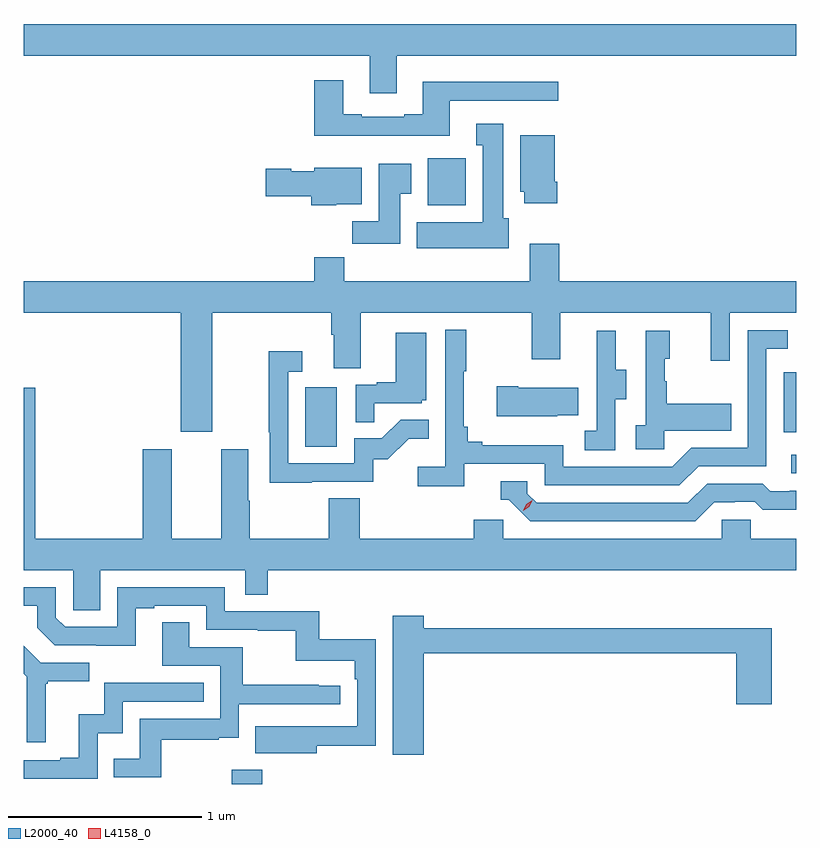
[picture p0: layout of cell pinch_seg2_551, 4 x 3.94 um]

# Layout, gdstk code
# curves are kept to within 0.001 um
import gdstk
lib = gdstk.Library(unit=1e-6, precision=1e-09)
def R(c, l, rs):  # rectangles x0, y0, x1, y1
    for r in rs: c.add(gdstk.rectangle(r[:2], r[2:], *l))
def P(c, l, *ps):  # polygons
    for p in ps: c.add(gdstk.Polygon(p, *l))
L2000_40 = (2000, 40)
L4158_0 = (4158, 0)

pinch_seg2_551 = lib.new_cell('pinch_seg2_551')
R(pinch_seg2_551, L2000_40, [(1102.666,609.233,1102.826,609.307), (1105.563,610.842,1105.59,610.938), (1103.048,610.98,1103.212,611.287), (1105.524,611.055,1105.59,611.364), (1103.681,612.23,1103.878,612.472)])
P(pinch_seg2_551, L2000_40, [(1103.521,613.004),(1105.59,613.004),(1105.59,613.168),(1101.59,613.168),(1101.59,613.004),(1103.381,613.004),(1103.381,612.81),(1103.521,612.81)],
  [(1103.797,612.771),(1104.358,612.771),(1104.358,612.868),(1103.657,612.868),(1103.657,612.7),(1103.561,612.7),(1103.561,612.687),(1103.341,612.687),(1103.341,612.7),(1103.245,612.7),(1103.245,612.877),(1103.093,612.877),(1103.093,612.59),(1103.797,612.59)],
  [(1104.1,612.162),(1104.073,612.162),(1104.073,612.652),(1103.933,612.652),(1103.933,612.539),(1103.966,612.539),(1103.966,612.142),(1103.624,612.142),(1103.624,612.008),(1104.1,612.008)],
  [(1104.353,612.352),(1104.34,612.352),(1104.34,612.592),(1104.161,612.592),(1104.161,612.3),(1104.182,612.3),(1104.182,612.24),(1104.353,612.24)],
  [(1103.539,612.289),(1103.596,612.289),(1103.596,612.445),(1103.429,612.445),(1103.429,612.148),(1103.29,612.148),(1103.29,612.03),(1103.539,612.03)],
  [(1103.208,612.236),(1103.341,612.236),(1103.341,612.424),(1103.094,612.424),(1103.094,612.406),(1102.974,612.406),(1102.974,612.419),(1102.842,612.419),(1102.842,612.277),(1103.078,612.277),(1103.078,612.23),(1103.208,612.23)],
  [(1102.567,611.672),(1103.183,611.672),(1103.183,611.56),(1103.195,611.56),(1103.195,611.386),(1103.335,611.386),(1103.335,611.672),(1104.22,611.672),(1104.22,611.433),(1104.367,611.433),(1104.367,611.672),(1105.148,611.672),(1105.148,611.424),(1105.245,611.424),(1105.245,611.672),(1105.59,611.672),(1105.59,611.836),(1104.362,611.836),(1104.362,612.031),(1104.209,612.031),(1104.209,611.836),(1103.249,611.836),(1103.249,611.96),(1103.093,611.96),(1103.093,611.836),(1101.59,611.836),(1101.59,611.672),(1102.403,611.672),(1102.403,611.058),(1102.567,611.058)],
  [(1103.87,610.89),(1104.288,610.89),(1104.288,610.779),(1104.985,610.779),(1105.084,610.878),(1105.434,610.878),(1105.434,611.487),(1105.547,611.487),(1105.547,611.583),(1105.338,611.583),(1105.338,610.974),(1105.047,610.974),(1104.948,610.875),(1104.384,610.875),(1104.384,610.987),(1103.965,610.987),(1103.965,611.006),(1103.888,611.006),(1103.888,611.083),(1103.869,611.083),(1103.869,611.371),(1103.881,611.371),(1103.881,611.584),(1103.772,611.584),(1103.772,610.876),(1103.631,610.876),(1103.631,610.774),(1103.87,610.774)],
  [(1104.906,611.063),(1105.253,611.063),(1105.253,611.203),(1104.919,611.203),(1104.919,611.318),(1104.909,611.318),(1104.909,611.436),(1104.934,611.436),(1104.934,611.581),(1104.81,611.581),(1104.81,611.09),(1104.759,611.09),(1104.759,610.965),(1104.906,610.965)],
  [(1104.654,611.224),(1104.709,611.224),(1104.709,611.379),(1104.655,611.379),(1104.655,611.581),(1104.557,611.581),(1104.557,611.367),(1104.558,611.367),(1104.558,611.063),(1104.495,611.063),(1104.495,610.96),(1104.654,610.96)],
  [(1103.405,611.205),(1103.652,611.205),(1103.652,611.22),(1103.674,611.22),(1103.674,611.569),(1103.516,611.569),(1103.516,611.314),(1103.417,611.314),(1103.417,611.301),(1103.31,611.301),(1103.31,611.107),(1103.405,611.107)],
  [(1103.081,610.797),(1103.4,610.797),(1103.4,610.914),(1103.476,610.914),(1103.583,611.021),(1103.687,611.021),(1103.687,611.12),(1103.543,611.12),(1103.445,611.022),(1103.301,611.022),(1103.301,610.893),(1102.959,610.893),(1102.959,611.367),(1103.032,611.367),(1103.032,611.473),(1102.858,611.473),(1102.858,611.053),(1102.863,611.053),(1102.863,610.792),(1103.081,610.792)],
  [(1104.353,611.141),(1104.461,611.141),(1104.461,611.284),(1104.151,611.284),(1104.151,611.292),(1104.039,611.292),(1104.039,611.138),(1104.353,611.138)],
  [(1105.59,610.504),(1105.353,610.504),(1105.353,610.602),(1105.203,610.602),(1105.203,610.504),(1104.072,610.504),(1104.072,610.602),(1103.921,610.602),(1103.921,610.504),(1103.33,610.504),(1103.33,610.712),(1103.17,610.712),(1103.17,610.504),(1102.761,610.504),(1102.761,610.7),(1102.753,610.7),(1102.753,610.966),(1102.613,610.966),(1102.613,610.504),(1102.357,610.504),(1102.357,610.966),(1102.205,610.966),(1102.205,610.504),(1101.65,610.504),(1101.65,611.284),(1101.59,611.284),(1101.59,610.34),(1101.846,610.34),(1101.846,610.132),(1101.985,610.132),(1101.985,610.34),(1102.737,610.34),(1102.737,610.213),(1102.853,610.213),(1102.853,610.34),(1105.59,610.34)],
  [(1105.165,610.692),(1105.272,610.692),(1105.272,610.695),(1105.375,610.695),(1105.417,610.653),(1105.59,610.653),(1105.59,610.752),(1105.555,610.752),(1105.555,610.749),(1105.456,610.749),(1105.417,610.788),(1105.128,610.788),(1105.029,610.689),(1104.246,610.689),(1104.198,610.737),(1104.198,610.8),(1104.059,610.8),(1104.059,610.704),(1104.102,610.704),(1104.213,610.593),(1105.066,610.593)],
  [(1103.107,609.43),(1103.412,609.43),(1103.412,609.982),(1103.119,609.982),(1103.119,610.128),(1102.632,610.128),(1102.632,610.251),(1102.074,610.251),(1102.074,610.047),(1101.804,610.047),(1101.756,610.095),(1101.756,610.251),(1101.59,610.251),(1101.59,610.155),(1101.66,610.155),(1101.66,610.041),(1101.75,609.951),(1102.171,609.95),(1102.171,610.143),(1102.267,610.143),(1102.267,610.155),(1102.536,610.155),(1102.536,610.032),(1102.801,610.032),(1102.801,610.027),(1102.998,610.027),(1102.998,609.872),(1103.303,609.872),(1103.303,609.776),(1103.316,609.776),(1103.316,609.531),(1102.789,609.532),(1102.789,609.392),(1103.107,609.392)],
  [(1103.662,609.91),(1105.28,609.91),(1105.28,609.645),(1105.463,609.645),(1105.463,610.039),(1103.662,610.039),(1103.662,610.105),(1103.501,610.105),(1103.501,609.384),(1103.662,609.384)],
  [(1102.303,609.462),(1102.601,609.462),(1102.601,609.473),(1102.704,609.473),(1102.704,609.645),(1103.23,609.645),(1103.23,609.741),(1103.117,609.741),(1103.117,609.746),(1102.724,609.746),(1102.724,609.942),(1102.447,609.942),(1102.447,610.07),(1102.307,610.07),(1102.307,609.846),(1102.608,609.846),(1102.608,609.57),(1102.192,609.57),(1102.192,609.364),(1102.057,609.364),(1102.057,609.267),(1102.303,609.267)],
  [(1101.703,609.753),(1101.715,609.753),(1101.715,609.764),(1101.928,609.764),(1101.928,609.861),(1101.678,609.861),(1101.59,609.949),(1101.59,609.805),(1101.606,609.789),(1101.606,609.45),(1101.703,609.45)],
  [(1101.972,609.497),(1102.104,609.497),(1102.104,609.66),(1102.523,609.66),(1102.523,609.756),(1102.008,609.756),(1102.008,609.595),(1101.875,609.595),(1101.875,609.37),(1101.779,609.37),(1101.779,609.357),(1101.59,609.357),(1101.59,609.261),(1101.972,609.261)])
P(pinch_seg2_551, L4158_0, [(1104.177,610.648),(1104.177,610.649),(1104.193,610.682),(1104.224,610.701),(1104.224,610.701),(1104.224,610.701),(1104.208,610.668),(1104.177,610.648)])

lib.write_gds('pinch_seg2_551.gds')
